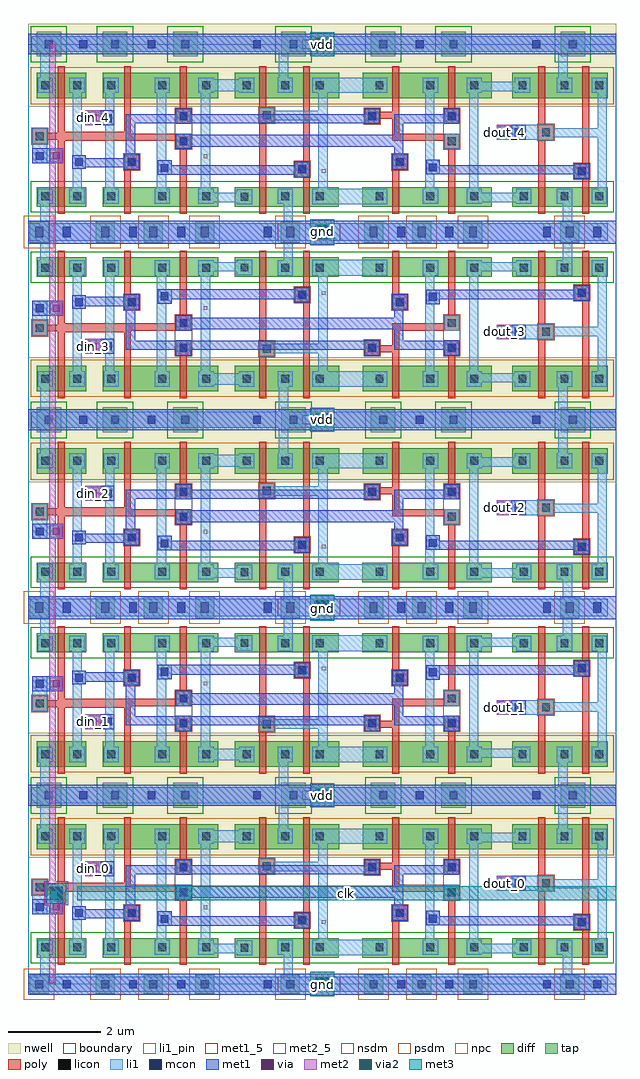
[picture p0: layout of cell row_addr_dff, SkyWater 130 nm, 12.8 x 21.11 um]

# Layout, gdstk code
import gdstk
lib = gdstk.Library(unit=1e-6, precision=1e-09)
def R(c, l, rs):  # rectangles x0, y0, x1, y1
    for r in rs: c.add(gdstk.rectangle(r[:2], r[2:], *l))
nwell = (64, 20)
diff = (65, 20)
tap = (65, 44)
poly = (66, 20)
licon = (66, 44)
li1_pin = (67, 16)
li1 = (67, 20)
mcon = (67, 44)
met1_5 = (68, 5)
met1 = (68, 20)
via = (68, 44)
met2_5 = (69, 5)
met2 = (69, 20)
via2 = (69, 44)
met3 = (70, 20)
nsdm = (93, 44)
psdm = (94, 20)
npc = (95, 20)
boundary = (235, 4)

dff = lib.new_cell('dff')
R(dff, nwell, [(-1.06,2.71,11.65,4.51)])
R(dff, diff, [(-0.88,0.55,0.19,0.97), (0.55,0.55,3.05,0.97), (3.4,0.55,5.65,0.97), (6.16,0.55,8.96,0.97), (9.41,0.55,11.47,0.97), (-0.88,2.89,0.19,3.44), (0.55,2.89,3.05,3.44), (3.4,2.89,5.66,3.44), (6.17,2.89,8.96,3.44), (9.41,2.89,11.47,3.44)])
R(dff, tap, [(-1.03,-0.23,-0.62,0.18), (0.4,-0.23,0.81,0.18), (1.44,-0.23,1.85,0.18), (2.55,-0.23,2.96,0.18), (4.4,-0.23,4.81,0.18), (6.2,-0.23,6.61,0.18), (7.24,-0.23,7.65,0.18), (8.35,-0.23,8.76,0.18), (10.44,-0.23,10.85,0.18), (-0.88,3.8,-0.35,4.33), (0.55,3.8,1.08,4.33), (2.07,3.8,2.6,4.33), (4.41,3.8,4.94,4.33), (6.35,3.8,6.88,4.33), (7.87,3.8,8.4,4.33), (10.45,3.8,10.98,4.33)])
R(dff, poly, [(-0.42,0.4,-0.27,1.97), (1.01,0.4,1.16,1.35), (2.22,0.4,2.37,1.8), (3.93,0.4,4.08,2.36), (4.88,0.4,5.03,1.19), (6.81,0.4,6.96,1.35), (8.02,0.4,8.17,1.8), (9.97,0.4,10.12,1.99), (10.92,0.4,11.07,1.15), (10.74,1.15,11.07,1.48), (4.7,1.19,5.03,1.52), (1.01,1.35,1.34,1.68), (6.81,1.35,7.14,1.68), (10.92,1.48,11.07,3.59), (4.88,1.52,5.03,3.59), (2.13,1.8,2.46,1.97), (7.93,1.8,8.26,1.97), (-0.98,1.91,-0.65,2), (-0.42,1.97,2.46,2), (6.81,1.97,8.26,2.13), (9.97,1.99,10.3,2.32), (-0.98,2,2.46,2.13), (-0.98,2.13,1.16,2.15), (6.81,2.13,6.96,2.45), (-0.98,2.15,-0.65,2.24), (-0.42,2.15,1.16,2.17), (-0.42,2.17,-0.27,3.59), (1.01,2.17,1.16,3.59), (9.97,2.32,10.12,3.59), (2.13,2.34,2.46,2.67), (6.21,2.34,6.54,2.45), (7.93,2.34,8.26,2.67), (3.93,2.36,4.26,2.69), (6.21,2.45,6.96,2.6), (6.21,2.6,6.54,2.67), (6.81,2.6,6.96,3.59), (2.22,2.67,2.37,3.59), (8.02,2.67,8.17,3.59), (3.93,2.69,4.08,3.59)])
R(dff, licon, [(-0.91,-0.11,-0.74,0.06), (0.52,-0.11,0.69,0.06), (1.56,-0.11,1.73,0.06), (2.67,-0.11,2.84,0.06), (4.52,-0.11,4.69,0.06), (6.32,-0.11,6.49,0.06), (7.36,-0.11,7.53,0.06), (8.47,-0.11,8.64,0.06), (10.56,-0.11,10.73,0.06), (3.53,0.68,3.7,0.85), (-0.78,0.69,-0.61,0.86), (-0.09,0.69,0.08,0.86), (0.65,0.69,0.82,0.86), (1.75,0.69,1.92,0.86), (2.7,0.69,2.87,0.86), (4.41,0.69,4.58,0.86), (5.16,0.69,5.33,0.86), (6.45,0.69,6.62,0.86), (7.55,0.69,7.72,0.86), (8.5,0.69,8.67,0.86), (9.57,0.69,9.74,0.86), (10.45,0.69,10.62,0.86), (11.2,0.69,11.37,0.86), (10.82,1.23,10.99,1.4), (4.78,1.27,4.95,1.44), (1.09,1.43,1.26,1.6), (6.89,1.43,7.06,1.6), (2.21,1.88,2.38,2.05), (8.01,1.88,8.18,2.05), (-0.9,1.99,-0.73,2.16), (10.05,2.07,10.22,2.24), (2.21,2.42,2.38,2.59), (6.29,2.42,6.46,2.59), (8.01,2.42,8.18,2.59), (4.01,2.44,4.18,2.61), (-0.78,3.09,-0.61,3.26), (-0.09,3.09,0.08,3.26), (0.65,3.09,0.82,3.26), (1.75,3.09,1.92,3.26), (2.7,3.09,2.87,3.26), (3.58,3.09,3.75,3.26), (4.41,3.09,4.58,3.26), (5.16,3.09,5.33,3.26), (6.45,3.09,6.62,3.26), (7.55,3.09,7.72,3.26), (8.5,3.09,8.67,3.26), (9.54,3.09,9.71,3.26), (10.45,3.09,10.62,3.26), (11.2,3.09,11.37,3.26), (-0.7,3.98,-0.53,4.15), (0.73,3.98,0.9,4.15), (2.25,3.98,2.42,4.15), (4.59,3.98,4.76,4.15), (6.53,3.98,6.7,4.15), (8.05,3.98,8.22,4.15), (10.63,3.98,10.8,4.15)])
R(dff, li1_pin, [(5.29,1.28,5.37,1.36), (1.83,1.34,1.91,1.41), (7.65,1.34,7.73,1.41), (1.11,1.44,1.22,1.57), (2.73,1.6,2.81,1.68), (8.52,3.1,8.62,3.22)])
R(dff, li1, [(-1.06,-0.19,11.47,0.14), (-0.8,0.14,-0.6,0.61), (4.46,0.14,4.66,0.61), (10.5,0.14,10.7,0.61), (3.45,0.6,3.78,0.65), (5.08,0.6,6.7,0.94), (-0.86,0.61,-0.53,0.94), (-0.17,0.61,0.16,0.94), (0.57,0.61,0.9,0.94), (1.67,0.61,2,0.94), (2.62,0.61,2.95,0.65), (4.33,0.61,4.66,0.94), (7.47,0.61,7.8,0.94), (8.42,0.61,8.75,0.65), (9.49,0.61,9.82,0.65), (10.37,0.61,10.7,0.94), (11.12,0.61,11.45,0.94), (2.62,0.65,3.78,0.85), (8.42,0.65,9.82,0.85), (2.62,0.85,2.95,0.94), (3.45,0.85,3.78,0.93), (8.42,0.85,8.75,0.94), (9.49,0.85,9.82,0.94), (-0.1,0.94,0.1,1.37), (0.6,0.94,0.8,2.33), (1.72,0.94,1.92,1.24), (2.67,0.94,2.87,3.01), (5.21,0.94,5.41,2.42), (7.52,0.94,7.72,1.25), (8.47,0.94,8.67,3.01), (11.25,0.94,11.45,2.05), (10.74,1.15,11.07,1.48), (4.7,1.19,5.03,1.52), (1.72,1.24,2.04,1.55), (7.52,1.25,7.84,1.56), (1.01,1.35,1.34,1.68), (6.81,1.35,7.14,1.68), (-0.11,1.37,0.18,1.66), (-0.98,1.49,-0.65,2.24), (1.72,1.55,1.92,3.01), (7.52,1.56,7.72,3.01), (-0.1,1.66,0.1,3.01), (2.13,1.8,2.46,2.13), (7.93,1.8,8.26,2.13), (9.97,1.99,10.3,2), (9.39,2,10.3,2.05), (9.39,2.05,11.45,2.25), (9.39,2.25,10.3,2.32), (11.25,2.25,11.45,3.01), (0.52,2.33,0.8,2.61), (2.13,2.34,2.46,2.67), (6.21,2.34,6.54,2.67), (7.93,2.34,8.26,2.67), (3.93,2.36,4.26,2.42), (3.93,2.42,5.41,2.62), (0.6,2.61,0.8,3.01), (3.93,2.62,4.26,2.69), (5.21,2.62,5.41,3.01), (-0.86,3.01,-0.53,3.34), (-0.17,3.01,0.16,3.34), (0.57,3.01,0.9,3.34), (1.67,3.01,2,3.34), (2.62,3.01,2.95,3.05), (3.5,3.01,3.83,3.05), (4.33,3.01,4.66,3.34), (5.08,3.01,6.7,3.34), (7.47,3.01,7.8,3.34), (8.42,3.01,8.75,3.05), (9.46,3.01,9.79,3.05), (10.37,3.01,10.7,3.34), (11.12,3.01,11.45,3.34), (2.62,3.05,3.83,3.3), (8.42,3.05,9.79,3.25), (8.42,3.25,8.75,3.34), (9.46,3.25,9.79,3.34), (2.62,3.3,2.95,3.34), (3.5,3.3,3.83,3.34), (-0.8,3.34,-0.6,3.9), (4.36,3.34,4.56,3.9), (10.4,3.34,10.6,3.9), (-1,3.9,11.65,4.23)])
R(dff, mcon, [(-0.31,-0.11,-0.14,0.06), (1.12,-0.11,1.29,0.06), (2.16,-0.11,2.33,0.06), (4.03,-0.11,4.2,0.06), (5.12,-0.11,5.29,0.06), (6.92,-0.11,7.09,0.06), (7.96,-0.11,8.13,0.06), (10.07,-0.11,10.24,0.06), (11.16,-0.11,11.33,0.06), (10.82,1.23,10.99,1.4), (4.78,1.27,4.95,1.44), (1.8,1.3,1.97,1.47), (7.6,1.31,7.77,1.48), (-0.05,1.43,0.12,1.6), (1.09,1.43,1.26,1.6), (6.89,1.43,7.06,1.6), (-0.9,1.56,-0.73,1.73), (2.21,1.88,2.38,2.05), (9.46,2.07,9.63,2.24), (0.57,2.38,0.74,2.55), (2.21,2.42,2.38,2.59), (6.29,2.42,6.46,2.59), (8.01,2.42,8.18,2.59), (0.04,3.98,0.21,4.15), (1.52,3.98,1.69,4.15), (3.8,3.98,3.97,4.15), (5.38,3.98,5.55,4.15), (7.32,3.98,7.49,4.15), (9.84,3.98,10.01,4.15)])
R(dff, met1_5, [(4.33,-0.19,5.68,0.14), (4.86,3.96,5.25,4.16)])
R(dff, met1, [(-1.06,-0.25,11.65,0.2), (-1.06,-0.25,11.65,0.2), (10.73,1.15,11.07,1.25), (4.7,1.19,5.03,1.24), (1.74,1.24,5.03,1.45), (7.54,1.25,11.07,1.45), (1.01,1.35,1.34,1.4), (6.81,1.35,7.14,1.68), (-0.11,1.37,0.18,1.4), (-0.11,1.4,1.34,1.6), (1.74,1.45,2.04,1.55), (4.7,1.45,5.03,1.52), (7.54,1.45,7.84,1.56), (10.73,1.45,11.07,1.48), (-0.98,1.49,-0.3,1.81), (-0.11,1.6,0.18,1.66), (1.01,1.6,1.34,1.68), (1.05,1.68,1.25,2.35), (6.85,1.68,7.05,1.85), (2.13,1.8,2.46,1.85), (2.13,1.85,7.05,2.1), (9.07,2,9.7,2.32), (2.13,2.1,2.46,2.13), (6.85,2.1,7.05,2.35), (0.17,2.31,0.8,2.63), (2.13,2.34,2.46,2.35), (6.21,2.34,6.54,2.35), (7.93,2.34,8.26,2.35), (1.05,2.35,6.54,2.55), (6.85,2.35,8.26,2.55), (2.13,2.55,2.46,2.67), (6.21,2.55,6.54,2.67), (7.93,2.55,8.26,2.67), (-1.06,3.84,11.65,4.29), (-1.06,3.84,11.65,4.29)])
R(dff, via, [(-0.535,1.575,-0.385,1.725), (9.155,2.085,9.305,2.235), (0.265,2.395,0.415,2.545)])
R(dff, met2_5, [(-0.59,1.52,-0.33,1.78), (9.1,2.03,9.36,2.29), (0.21,2.34,0.47,2.6)])
R(dff, met2, [(-0.61,1.49,-0.3,1.81), (-0.61,1.49,-0.3,1.81), (9.07,2,9.39,2.32), (9.07,2,9.39,2.32), (0.17,2.31,0.51,2.63), (0.17,2.31,0.51,2.63)])
R(dff, nsdm, [(-1.005,0.425,11.595,1.095), (-1.005,3.675,-0.225,4.455), (0.425,3.675,1.205,4.455), (1.945,3.675,2.725,4.455), (4.285,3.675,5.065,4.455), (6.225,3.675,7.005,4.455), (7.745,3.675,8.525,4.455), (10.325,3.675,11.105,4.455)])
R(dff, psdm, [(-1.155,-0.355,-0.495,0.305), (0.275,-0.355,0.935,0.305), (1.315,-0.355,1.975,0.305), (2.425,-0.355,3.085,0.305), (4.275,-0.355,4.935,0.305), (6.075,-0.355,6.735,0.305), (7.115,-0.355,7.775,0.305), (8.225,-0.355,8.885,0.305), (10.315,-0.355,10.975,0.305), (-1.005,2.765,11.595,3.565)])
R(dff, npc, [(10.72,1.13,11.09,1.5), (4.68,1.17,5.05,1.54), (0.99,1.33,1.36,1.7), (6.79,1.33,7.16,1.7), (2.11,1.78,2.48,2.69), (7.91,1.78,8.28,2.69), (-1,1.89,-0.63,2.26), (9.95,1.97,10.32,2.34), (6.19,2.32,6.56,2.69), (3.91,2.34,4.28,2.71)])
R(dff, boundary, [(-1.06,-0.03,11.65,4.06)])
dff.add(gdstk.Label('net1', (1.87,1.375), layer=67, texttype=16))
dff.add(gdstk.Label('net2', (2.77,1.64), layer=67, texttype=16))
dff.add(gdstk.Label('net3', (5.33,1.32), layer=67, texttype=16))
dff.add(gdstk.Label('net4', (7.69,1.375), layer=67, texttype=16))
dff.add(gdstk.Label('net5', (8.57,3.16), layer=67, texttype=16))
dff.add(gdstk.Label('clkb', (1.165,1.505), layer=67, texttype=16))
dff.add(gdstk.Label('vdd', (5.055,4.06), layer=68, texttype=5))
dff.add(gdstk.Label('gnd', (5.005,-0.025), layer=68, texttype=5))
dff.add(gdstk.Label('D', (0.34,2.47), layer=69, texttype=5))
dff.add(gdstk.Label('Q', (9.23,2.16), layer=69, texttype=5))
dff.add(gdstk.Label('clk', (-0.46,1.65), layer=69, texttype=5))
dff.add(gdstk.Label('D', (0.34,2.47), layer=69, texttype=20))
dff.add(gdstk.Label('Q', (9.23,2.16), layer=69, texttype=20))
dff.add(gdstk.Label('clk', (-0.455,1.65), layer=69, texttype=20))
dff.add(gdstk.Label('vdd', (5.295,4.065), layer=68, texttype=20))
dff.add(gdstk.Label('gnd', (5.295,-0.025), layer=68, texttype=20))

contact_6 = lib.new_cell('contact_6')
R(contact_6, met1, [(0,0,0.46,0.46)])
R(contact_6, via, [(0.1,0.1,0.36,0.36)])
R(contact_6, met2, [(0,0,0.46,0.46)])
R(contact_6, boundary, [(0,0,0.46,0.46)])

contact_7 = lib.new_cell('contact_7')
R(contact_7, met2, [(0,0,0.52,0.52)])
R(contact_7, via2, [(0.12,0.12,0.4,0.4)])
R(contact_7, met3, [(0.04,0.04,0.48,0.48)])
R(contact_7, boundary, [(0,0,0.52,0.52)])

row_addr_dff = lib.new_cell('row_addr_dff')
R(row_addr_dff, met2, [(-0.61,0,-0.47,20.3), (9.07,2,9.39,2.32), (0.17,2.31,0.51,2.63), (0.17,5.49,0.51,5.81), (9.07,5.8,9.39,6.12), (9.07,10.12,9.39,10.44), (0.17,10.43,0.51,10.75), (0.17,13.61,0.51,13.93), (9.07,13.92,9.39,14.24), (9.07,18.24,9.39,18.56), (0.17,18.55,0.51,18.87)])
R(row_addr_dff, met3, [(5.04,-0.28,5.56,0.24), (0,1.79,11.65,2.09), (5.04,3.8,5.56,4.32), (5.04,3.8,5.56,4.32), (5.04,7.84,5.56,8.36), (5.04,7.88,5.56,8.4), (5.04,11.92,5.56,12.44), (5.04,11.92,5.56,12.44), (5.04,15.96,5.56,16.48), (5.04,16,5.56,16.52), (5.04,20.04,5.56,20.56)])
R(row_addr_dff, boundary, [(0,0,11.65,20.3)])
row_addr_dff.add(gdstk.Reference(dff, (0,0)))
row_addr_dff.add(gdstk.Reference(dff, (0,8.12), x_reflection=True))
row_addr_dff.add(gdstk.Reference(dff, (0,8.12)))
row_addr_dff.add(gdstk.Reference(dff, (0,16.24), x_reflection=True))
row_addr_dff.add(gdstk.Reference(dff, (0,16.24)))
row_addr_dff.add(gdstk.Reference(contact_6, (5.06,3.84)))
row_addr_dff.add(gdstk.Reference(contact_7, (5.04,3.8)))
row_addr_dff.add(gdstk.Reference(contact_6, (5.06,-0.26)))
row_addr_dff.add(gdstk.Reference(contact_7, (5.04,-0.28)))
row_addr_dff.add(gdstk.Reference(contact_6, (5.06,3.82)))
row_addr_dff.add(gdstk.Reference(contact_7, (5.04,3.8)))
row_addr_dff.add(gdstk.Reference(contact_6, (5.06,7.92)))
row_addr_dff.add(gdstk.Reference(contact_7, (5.04,7.88)))
row_addr_dff.add(gdstk.Reference(contact_6, (5.06,11.96)))
row_addr_dff.add(gdstk.Reference(contact_7, (5.04,11.92)))
row_addr_dff.add(gdstk.Reference(contact_6, (5.06,7.86)))
row_addr_dff.add(gdstk.Reference(contact_7, (5.04,7.84)))
row_addr_dff.add(gdstk.Reference(contact_6, (5.06,11.94)))
row_addr_dff.add(gdstk.Reference(contact_7, (5.04,11.92)))
row_addr_dff.add(gdstk.Reference(contact_6, (5.06,16.04)))
row_addr_dff.add(gdstk.Reference(contact_7, (5.04,16)))
row_addr_dff.add(gdstk.Reference(contact_6, (5.06,20.08)))
row_addr_dff.add(gdstk.Reference(contact_7, (5.04,20.04)))
row_addr_dff.add(gdstk.Reference(contact_6, (5.06,15.98)))
row_addr_dff.add(gdstk.Reference(contact_7, (5.04,15.96)))
row_addr_dff.add(gdstk.Reference(contact_7, (-0.72,1.68)))
row_addr_dff.add(gdstk.Label('vdd', (5.3,4.06), layer=70, texttype=20))
row_addr_dff.add(gdstk.Label('vdd', (5.3,12.18), layer=70, texttype=20))
row_addr_dff.add(gdstk.Label('vdd', (5.3,12.18), layer=70, texttype=20))
row_addr_dff.add(gdstk.Label('vdd', (5.3,20.3), layer=70, texttype=20))
row_addr_dff.add(gdstk.Label('vdd', (5.3,4.06), layer=70, texttype=20))
row_addr_dff.add(gdstk.Label('gnd', (5.3,16.26), layer=70, texttype=20))
row_addr_dff.add(gdstk.Label('gnd', (5.3,8.1), layer=70, texttype=20))
row_addr_dff.add(gdstk.Label('gnd', (5.3,-0.02), layer=70, texttype=20))
row_addr_dff.add(gdstk.Label('gnd', (5.3,8.14), layer=70, texttype=20))
row_addr_dff.add(gdstk.Label('gnd', (5.3,16.22), layer=70, texttype=20))
row_addr_dff.add(gdstk.Label('din_0', (0.34,2.47), layer=69, texttype=20))
row_addr_dff.add(gdstk.Label('dout_0', (9.23,2.16), layer=69, texttype=20))
row_addr_dff.add(gdstk.Label('din_1', (0.34,5.65), layer=69, texttype=20))
row_addr_dff.add(gdstk.Label('dout_1', (9.23,5.96), layer=69, texttype=20))
row_addr_dff.add(gdstk.Label('din_2', (0.34,10.59), layer=69, texttype=20))
row_addr_dff.add(gdstk.Label('dout_2', (9.23,10.28), layer=69, texttype=20))
row_addr_dff.add(gdstk.Label('din_3', (0.34,13.77), layer=69, texttype=20))
row_addr_dff.add(gdstk.Label('dout_3', (9.23,14.08), layer=69, texttype=20))
row_addr_dff.add(gdstk.Label('din_4', (0.34,18.71), layer=69, texttype=20))
row_addr_dff.add(gdstk.Label('dout_4', (9.23,18.4), layer=69, texttype=20))
row_addr_dff.add(gdstk.Label('clk', (5.825,1.94), layer=70, texttype=20))

lib.write_gds('row_addr_dff.gds')
